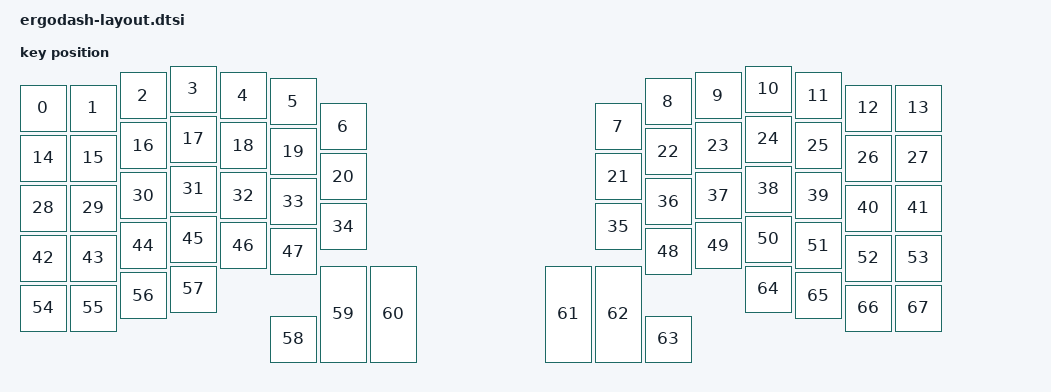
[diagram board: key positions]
#include <physical_layouts.dtsi>

/ {    
    ergodash_physical_layout: ergodash_physical_layout {
        compatible = "zmk,physical-layout";
        display-name = "ERGODASH";
        transform = <&default_transform>;
        kscan = <&kscan0>;

        keys  //                     w   h    x    y     rot    rx    ry
            = <&key_physical_attrs 100 100    0   38       0     0     0>
            , <&key_physical_attrs 100 100  100   38       0     0     0>
            , <&key_physical_attrs 100 100  200   13       0     0     0>
            , <&key_physical_attrs 100 100  300    0       0     0     0>
            , <&key_physical_attrs 100 100  400   13       0     0     0>
            , <&key_physical_attrs 100 100  500   25       0     0     0>
            , <&key_physical_attrs 100 100  600   75       0     0     0>
            , <&key_physical_attrs 100 100 1150   75       0     0     0>
            , <&key_physical_attrs 100 100 1250   25       0     0     0>
            , <&key_physical_attrs 100 100 1350   13       0     0     0>
            , <&key_physical_attrs 100 100 1450    0       0     0     0>
            , <&key_physical_attrs 100 100 1550   13       0     0     0>
            , <&key_physical_attrs 100 100 1650   38       0     0     0>
            , <&key_physical_attrs 100 100 1750   38       0     0     0>
            , <&key_physical_attrs 100 100    0  138       0     0     0>
            , <&key_physical_attrs 100 100  100  138       0     0     0>
            , <&key_physical_attrs 100 100  200  113       0     0     0>
            , <&key_physical_attrs 100 100  300  100       0     0     0>
            , <&key_physical_attrs 100 100  400  113       0     0     0>
            , <&key_physical_attrs 100 100  500  125       0     0     0>
            , <&key_physical_attrs 100 100  600  175       0     0     0>
            , <&key_physical_attrs 100 100 1150  175       0     0     0>
            , <&key_physical_attrs 100 100 1250  125       0     0     0>
            , <&key_physical_attrs 100 100 1350  113       0     0     0>
            , <&key_physical_attrs 100 100 1450  100       0     0     0>
            , <&key_physical_attrs 100 100 1550  113       0     0     0>
            , <&key_physical_attrs 100 100 1650  138       0     0     0>
            , <&key_physical_attrs 100 100 1750  138       0     0     0>
            , <&key_physical_attrs 100 100    0  238       0     0     0>
            , <&key_physical_attrs 100 100  100  238       0     0     0>
            , <&key_physical_attrs 100 100  200  213       0     0     0>
            , <&key_physical_attrs 100 100  300  200       0     0     0>
            , <&key_physical_attrs 100 100  400  213       0     0     0>
            , <&key_physical_attrs 100 100  500  225       0     0     0>
            , <&key_physical_attrs 100 100  600  275       0     0     0>
            , <&key_physical_attrs 100 100 1150  275       0     0     0>
            , <&key_physical_attrs 100 100 1250  225       0     0     0>
            , <&key_physical_attrs 100 100 1350  213       0     0     0>
            , <&key_physical_attrs 100 100 1450  200       0     0     0>
            , <&key_physical_attrs 100 100 1550  213       0     0     0>
            , <&key_physical_attrs 100 100 1650  238       0     0     0>
            , <&key_physical_attrs 100 100 1750  238       0     0     0>
            , <&key_physical_attrs 100 100    0  338       0     0     0>
            , <&key_physical_attrs 100 100  100  338       0     0     0>
            , <&key_physical_attrs 100 100  200  313       0     0     0>
            , <&key_physical_attrs 100 100  300  300       0     0     0>
            , <&key_physical_attrs 100 100  400  313       0     0     0>
            , <&key_physical_attrs 100 100  500  325       0     0     0>
            , <&key_physical_attrs 100 100 1250  325       0     0     0>
            , <&key_physical_attrs 100 100 1350  313       0     0     0>
            , <&key_physical_attrs 100 100 1450  300       0     0     0>
            , <&key_physical_attrs 100 100 1550  313       0     0     0>
            , <&key_physical_attrs 100 100 1650  338       0     0     0>
            , <&key_physical_attrs 100 100 1750  338       0     0     0>
            , <&key_physical_attrs 100 100    0  438       0     0     0>
            , <&key_physical_attrs 100 100  100  438       0     0     0>
            , <&key_physical_attrs 100 100  200  413       0     0     0>
            , <&key_physical_attrs 100 100  300  400       0     0     0>
            , <&key_physical_attrs 100 100  500  500       0     0     0>
            , <&key_physical_attrs 100 200  600  400       0     0     0>
            , <&key_physical_attrs 100 200  700  400       0     0     0>
            , <&key_physical_attrs 100 200 1050  400       0     0     0>
            , <&key_physical_attrs 100 200 1150  400       0     0     0>
            , <&key_physical_attrs 100 100 1250  500       0     0     0>
            , <&key_physical_attrs 100 100 1450  400       0     0     0>
            , <&key_physical_attrs 100 100 1550  413       0     0     0>
            , <&key_physical_attrs 100 100 1650  438       0     0     0>
            , <&key_physical_attrs 100 100 1750  438       0     0     0>
            ;
    
    };
};

/ {
    ergodash_position_map {
        compatible = "zmk,physical-layout-position-map";
        complete;
        ergodash_map: ergodash {
            physical-layout = <&ergodash_physical_layout>;
            positions
                = < 0  1  2  3  4  5  6  7  8  9 10 11 12 13>
                , <14 15 16 17 18 19 20 21 22 23 24 25 26 27>
                , <28 29 30 31 32 33 34 35 36 37 38 39 40 41>
                , <42 43 44 45 46 47       48 49 50 51 52 53>
                , <54 55 56 57 58 59 60 61 62 63 64 65 66 67>;
        };
    };
};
